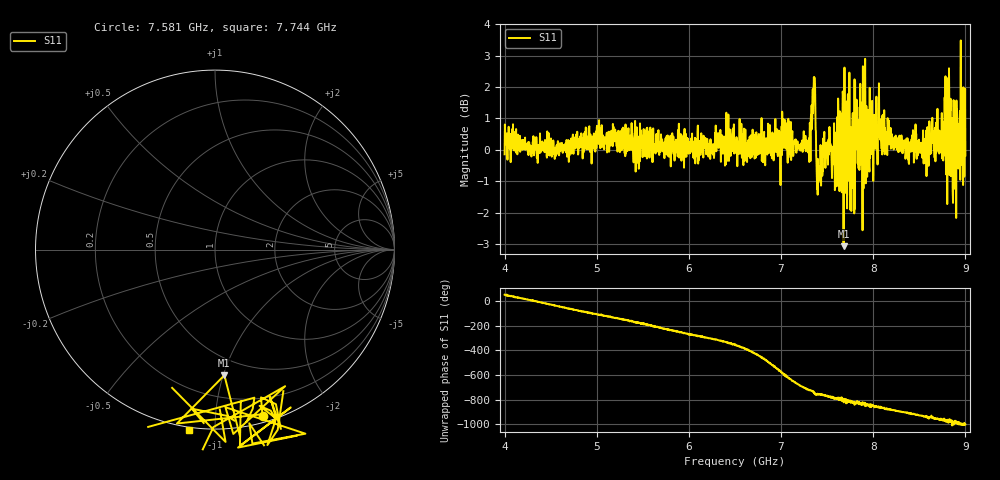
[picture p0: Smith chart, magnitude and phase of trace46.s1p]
! Created with skrf 1.8.0 (http://scikit-rf.org).
# Hz S RI R 50.0
!freq ReS11 ImS11
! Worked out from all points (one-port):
!   1601 points, 4 GHz to 9 GHz, reference 50 ohm
!   lowest |S11| = -3.1 dB at 7.678 GHz (marker M1), VSWR 5.71, Z = 18.3 - j50.4 ohm
!   |S11| at or under -10 dB: nowhere
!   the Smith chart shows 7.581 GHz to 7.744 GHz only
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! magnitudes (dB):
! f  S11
! 4 GHz  -0.1
! 4.625 GHz  0.0
! 5.25 GHz  -0.1
! 5.875 GHz  0.2
! 6.5 GHz  0.2
! 6.816 GHz  0.6
! 6.984 GHz  0.6
! 7.038 GHz  0.4
! 7.125 GHz  0.2
! 7.294 GHz  -0.1
! 7.347 GHz  1.2
! 7.409 GHz  -1.0
! 7.481 GHz  -0.6
! 7.578 GHz  0.0
! 7.647 GHz  0.8
! 7.678 GHz  -3.1
! 7.688 GHz  2.6
! 7.75 GHz  -0.4
! 7.769 GHz  -0.3
! 7.8 GHz  -1.9
! 7.909 GHz  1.6
! 7.928 GHz  1.2
! 8.375 GHz  -0.2
! 8.744 GHz  1.2
! 8.8 GHz  0.7
! 8.875 GHz  1.1
! 8.959 GHz  1.9
! 9 GHz  -0.2
